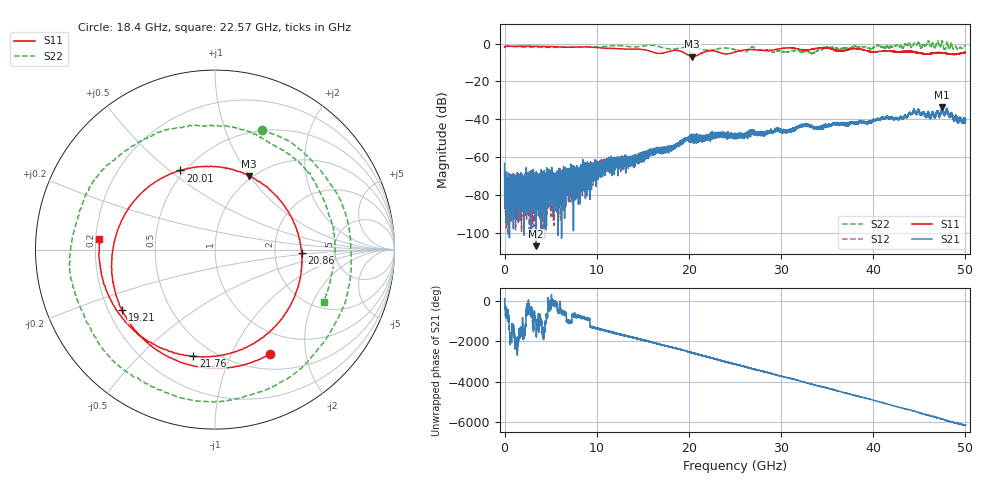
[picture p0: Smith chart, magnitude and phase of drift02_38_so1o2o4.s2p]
!Created with skrf (http://scikit-rf.org).
# Hz S RI R 50.0
!freq ReS11 ImS11 ReS21 ImS21 ReS12 ImS12 ReS22 ImS22
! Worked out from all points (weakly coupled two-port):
!   10001 points, 300 kHz to 50 GHz, reference 50 ohm
!   highest |S21| = -33.65 dB at 47.5 GHz (marker M1); lowest = -106.9 dB at 3.42 GHz (marker M2)
!   lowest |S11| = -6.9 dB at 20.36 GHz (marker M3), VSWR 2.63, Z = 48.6 + j49.6 ohm
!   |S11| at or under -10 dB: nowhere
!   |S22| runs from -5.4 to 1.6 dB; largest |S21 - S12| = 0.003
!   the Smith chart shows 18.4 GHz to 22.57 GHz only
!   S11 on the Smith chart (normalised r, x): 18.4 GHz: 0.69, -1.42; 19.21 GHz: 0.26, -0.28; 20.01 GHz: 0.47, +0.55; 20.86 GHz: 2.86, -0.14; 21.76 GHz: 0.39, -0.74; 22.57 GHz: 0.22, +0.04
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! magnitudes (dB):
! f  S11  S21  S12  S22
! 300 kHz  -2.1  -63.2  -67.6  -1.3
! 265.3 MHz  -1.4  -77.8  -73.7  -1.4
! 3.42 GHz  -1.5  -106.9  -72.5  -1.9
! 5.555 GHz  -1.7  -75.2  -69.4  -2.0
! 8.335 GHz  -1.7  -68.9  -67.9  -1.9
! 16.67 GHz  -5.2  -55.7  -56.8  -1.5
! 18.4 GHz  -3.6  -54.5  -53.9  -2.9
! 19.21 GHz  -4.2  -51.9  -52.3  -2.2
! 20.01 GHz  -6.3  -50.4  -50.1  -1.5
! 20.36 GHz  -6.9  -49.7  -48.7  -1.7
! 20.86 GHz  -6.3  -50.3  -51.2  -2.1
! 21.76 GHz  -4.3  -48.8  -49.5  -3.5
! 22.57 GHz  -3.8  -49.0  -49.0  -3.4
! 25 GHz  -4.5  -48.4  -48.5  -3.2
! 26.12 GHz  -3.3  -49.5  -48.6  -4.3
! 26.9 GHz  -3.2  -45.5  -46.0  -1.6
! 33.34 GHz  -3.0  -43.9  -43.5  -5.2
! 34.89 GHz  -2.2  -42.7  -43.2  -2.3
! 41.67 GHz  -3.9  -38.7  -39.3  -2.1
! 44.65 GHz  -4.8  -37.0  -36.8  -0.6
! 47.5 GHz  -4.9  -33.7  -34.2  1.3
! 50 GHz  -4.7  -40.5  -40.3  -1.5
